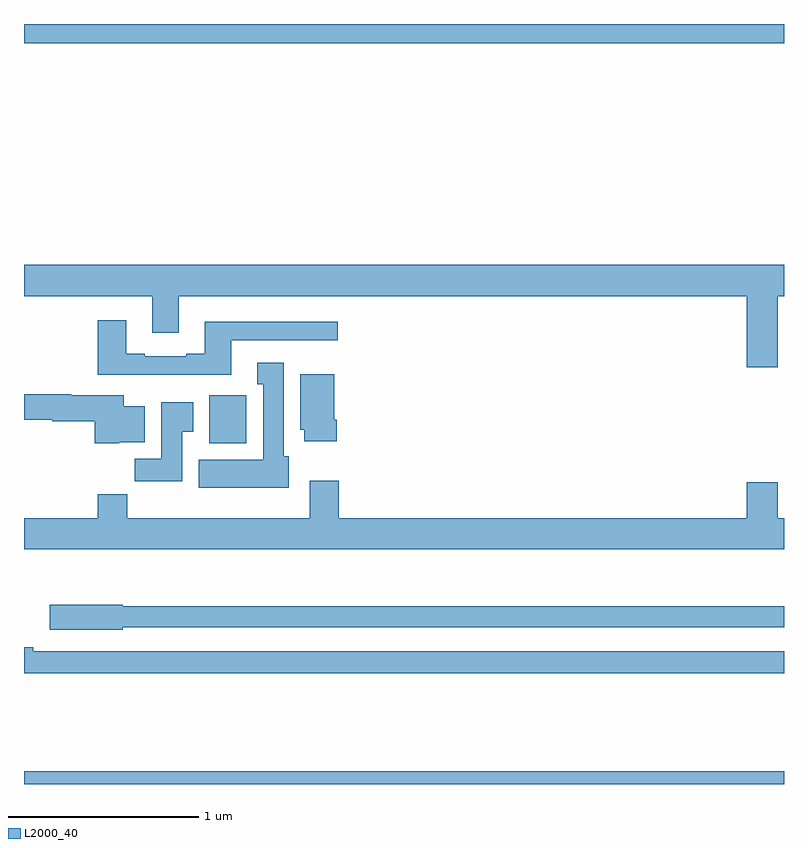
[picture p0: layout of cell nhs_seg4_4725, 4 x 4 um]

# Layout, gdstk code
import gdstk
lib = gdstk.Library(unit=1e-6, precision=1e-09)
def R(c, l, rs):  # rectangles x0, y0, x1, y1
    for r in rs: c.add(gdstk.rectangle(r[:2], r[2:], *l))
def P(c, l, *ps):  # polygons
    for p in ps: c.add(gdstk.Polygon(p, *l))
L2000_40 = (2000, 40)

nhs_seg4_4725 = lib.new_cell('nhs_seg4_4725')
R(nhs_seg4_4725, L2000_40, [(365,812.9,369,812.968), (365.975,814.694,366.171,814.945), (365,816.8,369,816.9)])
P(nhs_seg4_4725, L2000_40, [(368.968,815.468),(369,815.468),(369,815.632),(365,815.632),(365,815.468),(365.675,815.468),(365.675,815.274),(365.815,815.274),(365.815,815.468),(368.804,815.468),(368.804,815.094),(368.968,815.094)],
  [(366.091,815.235),(366.652,815.235),(366.652,815.332),(365.951,815.332),(365.951,815.164),(365.855,815.164),(365.855,815.151),(365.635,815.151),(365.635,815.164),(365.539,815.164),(365.539,815.341),(365.387,815.341),(365.387,815.054),(366.091,815.054)],
  [(366.394,814.626),(366.367,814.626),(366.367,815.116),(366.227,815.116),(366.227,815.003),(366.26,815.003),(366.26,814.606),(365.921,814.606),(365.921,814.46),(366.394,814.46)],
  [(366.647,814.816),(366.634,814.816),(366.634,815.056),(366.455,815.056),(366.455,814.764),(366.476,814.764),(366.476,814.704),(366.647,814.704)],
  [(365.502,814.7),(365.635,814.7),(365.635,814.888),(365.524,814.888),(365.524,814.945),(365.248,814.945),(365.248,814.952),(365,814.952),(365,814.816),(365.148,814.816),(365.148,814.808),(365.372,814.808),(365.372,814.694),(365.502,814.694)],
  [(365.833,814.753),(365.89,814.753),(365.89,814.909),(365.723,814.909),(365.723,814.612),(365.584,814.612),(365.584,814.494),(365.833,814.494)],
  [(368.804,814.489),(368.804,814.3),(366.656,814.3),(366.656,814.495),(366.503,814.495),(366.503,814.3),(365.543,814.3),(365.543,814.424),(365.387,814.424),(365.387,814.3),(365,814.3),(365,814.136),(369,814.136),(369,814.3),(368.968,814.3),(368.968,814.489)],
  [(365.52,813.726),(369,813.726),(369,813.835),(365.52,813.835),(365.52,813.843),(365.136,813.843),(365.136,813.713),(365.52,813.713)],
  [(369,813.6),(365.048,813.6),(365.048,813.62),(365,813.62),(365,813.484),(369,813.484)])

lib.write_gds('nhs_seg4_4725.gds')
